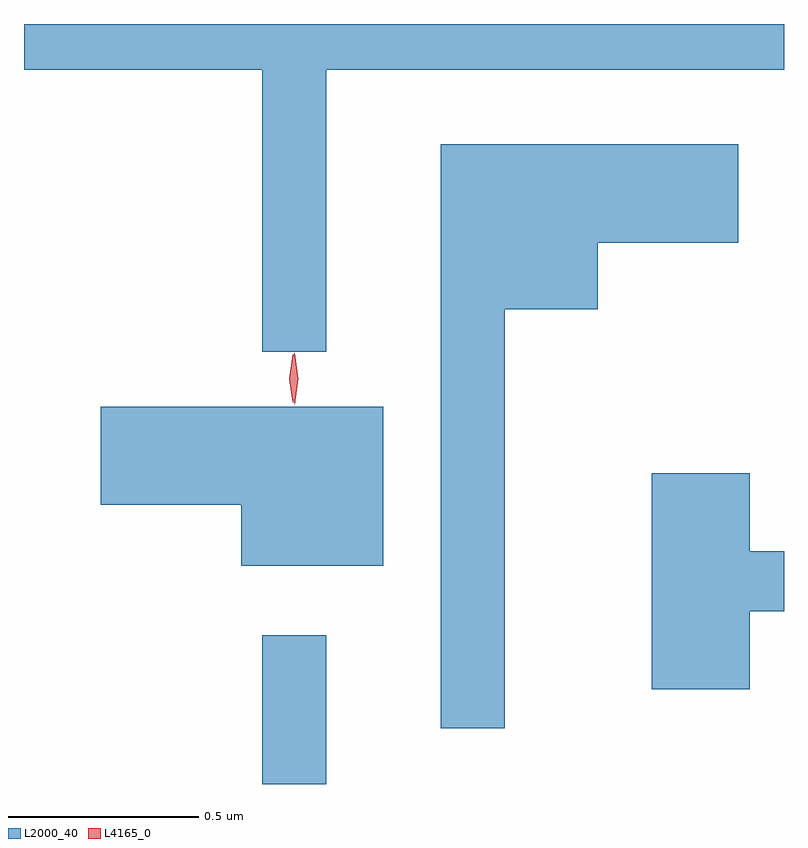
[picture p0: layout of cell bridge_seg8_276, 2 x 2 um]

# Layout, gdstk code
import gdstk
lib = gdstk.Library(unit=1e-6, precision=1e-09)
def R(c, l, rs):  # rectangles x0, y0, x1, y1
    for r in rs: c.add(gdstk.rectangle(r[:2], r[2:], *l))
def P(c, l, *ps):  # polygons
    for p in ps: c.add(gdstk.Polygon(p, *l))
L2000_40 = (2000, 40)
L4165_0 = (4165, 0)

bridge_seg8_276 = lib.new_cell('bridge_seg8_276')
R(bridge_seg8_276, L2000_40, [(1218.791,1810.116,1218.959,1810.508)])
P(bridge_seg8_276, L2000_40, [(1218.959,1811.996),(1220.164,1811.996),(1220.164,1812.116),(1218.164,1812.116),(1218.164,1811.996),(1218.791,1811.996),(1218.791,1811.253),(1218.959,1811.253)],
  [(1219.429,1811.366),(1219.674,1811.366),(1219.674,1811.541),(1220.044,1811.541),(1220.044,1811.799),(1219.261,1811.799),(1219.261,1810.263),(1219.429,1810.263)],
  [(1219.109,1811.109),(1218.366,1811.109),(1218.366,1810.851),(1218.736,1810.851),(1218.736,1810.691),(1219.109,1810.691)],
  [(1220.074,1810.571),(1220.164,1810.571),(1220.164,1810.729),(1220.074,1810.729),(1220.074,1810.934),(1219.816,1810.934),(1219.816,1810.366),(1220.074,1810.366)])
P(bridge_seg8_276, L4165_0, [(1218.876,1811.114),(1218.876,1811.114),(1218.866,1811.182),(1218.875,1811.25),(1218.875,1811.25),(1218.876,1811.25),(1218.886,1811.182),(1218.877,1811.114)],
  [(1218.871,1811.12),(1218.862,1811.183),(1218.871,1811.246),(1218.872,1811.247),(1218.872,1811.246),(1218.882,1811.183),(1218.872,1811.12),(1218.872,1811.12)])

lib.write_gds('bridge_seg8_276.gds')
